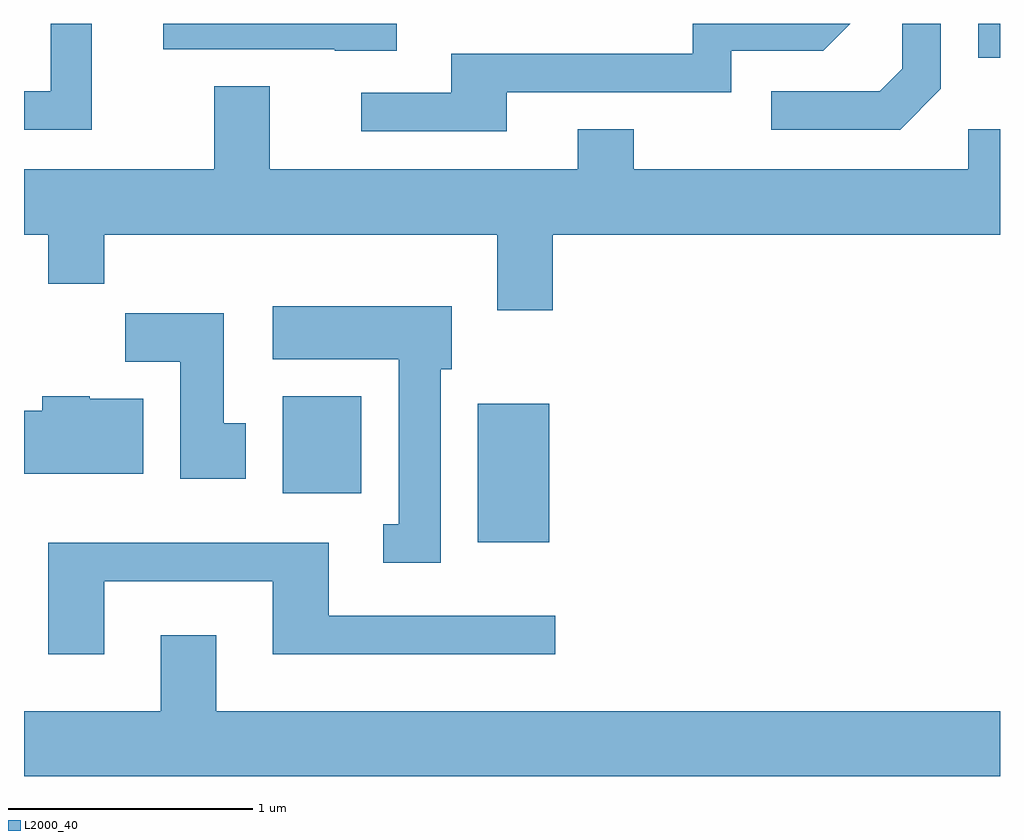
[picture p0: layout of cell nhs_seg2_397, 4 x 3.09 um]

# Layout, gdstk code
import gdstk
lib = gdstk.Library(unit=1e-6, precision=1e-09)
def R(c, l, rs):  # rectangles x0, y0, x1, y1
    for r in rs: c.add(gdstk.rectangle(r[:2], r[2:], *l))
def P(c, l, *ps):  # polygons
    for p in ps: c.add(gdstk.Polygon(p, *l))
L2000_40 = (2000, 40)

nhs_seg2_397 = lib.new_cell('nhs_seg2_397')
R(nhs_seg2_397, L2000_40, [(197.471,1093.676,197.764,1094.244), (196.671,1093.876,196.994,1094.274), (199.521,1095.661,199.611,1095.802)])
P(nhs_seg2_397, L2000_40, [(197.139,1095.802),(196.181,1095.802),(196.181,1095.696),(196.885,1095.696),(196.885,1095.691),(197.139,1095.691)],
  [(197.589,1095.521),(198.509,1095.521),(198.509,1095.691),(198.887,1095.691),(198.997,1095.802),(198.351,1095.802),(198.351,1095.679),(197.361,1095.679),(197.361,1095.519),(196.993,1095.519),(196.993,1095.361),(197.589,1095.361)],
  [(199.369,1095.534),(199.369,1095.802),(199.211,1095.802),(199.211,1095.617),(199.119,1095.524),(198.673,1095.524),(198.673,1095.366),(199.202,1095.366)],
  [(195.889,1095.802),(195.721,1095.802),(195.721,1095.524),(195.611,1095.524),(195.611,1095.366),(195.889,1095.366)],
  [(197.779,1094.936),(199.611,1094.936),(199.611,1095.369),(199.481,1095.369),(199.481,1095.204),(198.109,1095.204),(198.109,1095.369),(197.881,1095.369),(197.881,1095.204),(196.619,1095.204),(196.619,1095.544),(196.391,1095.544),(196.391,1095.204),(195.611,1095.204),(195.611,1094.936),(195.711,1094.936),(195.711,1094.736),(195.939,1094.736),(195.939,1094.936),(197.551,1094.936),(197.551,1094.626),(197.779,1094.626)],
  [(197.319,1094.386),(197.364,1094.386),(197.364,1094.644),(196.631,1094.644),(196.631,1094.426),(197.146,1094.426),(197.146,1093.749),(197.083,1093.749),(197.083,1093.591),(197.319,1093.591)],
  [(196.519,1094.164),(196.429,1094.164),(196.429,1094.614),(196.026,1094.614),(196.026,1094.416),(196.251,1094.416),(196.251,1093.936),(196.519,1093.936)],
  [(196.099,1094.264),(195.88,1094.264),(195.88,1094.274),(195.686,1094.274),(195.686,1094.214),(195.611,1094.214),(195.611,1093.956),(196.099,1093.956)],
  [(195.939,1093.516),(196.631,1093.516),(196.631,1093.216),(197.788,1093.216),(197.788,1093.374),(196.859,1093.374),(196.859,1093.674),(195.711,1093.674),(195.711,1093.216),(195.939,1093.216)],
  [(199.611,1092.984),(196.399,1092.984),(196.399,1093.294),(196.171,1093.294),(196.171,1092.984),(195.611,1092.984),(195.611,1092.716),(199.611,1092.716)])

lib.write_gds('nhs_seg2_397.gds')
